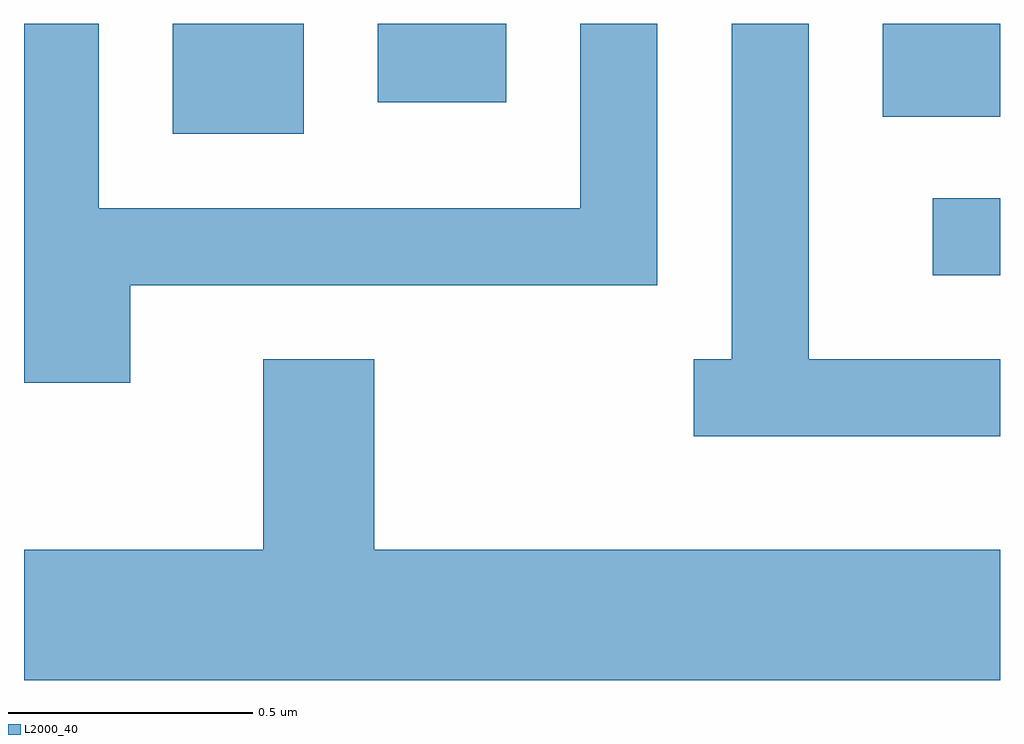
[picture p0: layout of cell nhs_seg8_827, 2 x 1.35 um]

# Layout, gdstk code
import gdstk
lib = gdstk.Library(unit=1e-6, precision=1e-09)
def R(c, l, rs):  # rectangles x0, y0, x1, y1
    for r in rs: c.add(gdstk.rectangle(r[:2], r[2:], *l))
def P(c, l, *ps):  # polygons
    for p in ps: c.add(gdstk.Polygon(p, *l))
L2000_40 = (2000, 40)

nhs_seg8_827 = lib.new_cell('nhs_seg8_827')
R(nhs_seg8_827, L2000_40, [(193.473,1812.826,193.611,1812.984), (191.916,1813.116,192.184,1813.342), (193.371,1813.151,193.611,1813.342), (192.336,1813.181,192.599,1813.342)])
P(nhs_seg8_827, L2000_40, [(191.829,1812.806),(192.909,1812.806),(192.909,1813.342),(192.751,1813.342),(192.751,1812.964),(191.764,1812.964),(191.764,1813.342),(191.611,1813.342),(191.611,1812.606),(191.829,1812.606)],
  [(193.611,1812.654),(193.219,1812.654),(193.219,1813.342),(193.061,1813.342),(193.061,1812.654),(192.983,1812.654),(192.983,1812.496),(193.611,1812.496)],
  [(193.611,1812.264),(192.329,1812.264),(192.329,1812.654),(192.101,1812.654),(192.101,1812.264),(191.611,1812.264),(191.611,1811.996),(193.611,1811.996)])

lib.write_gds('nhs_seg8_827.gds')
